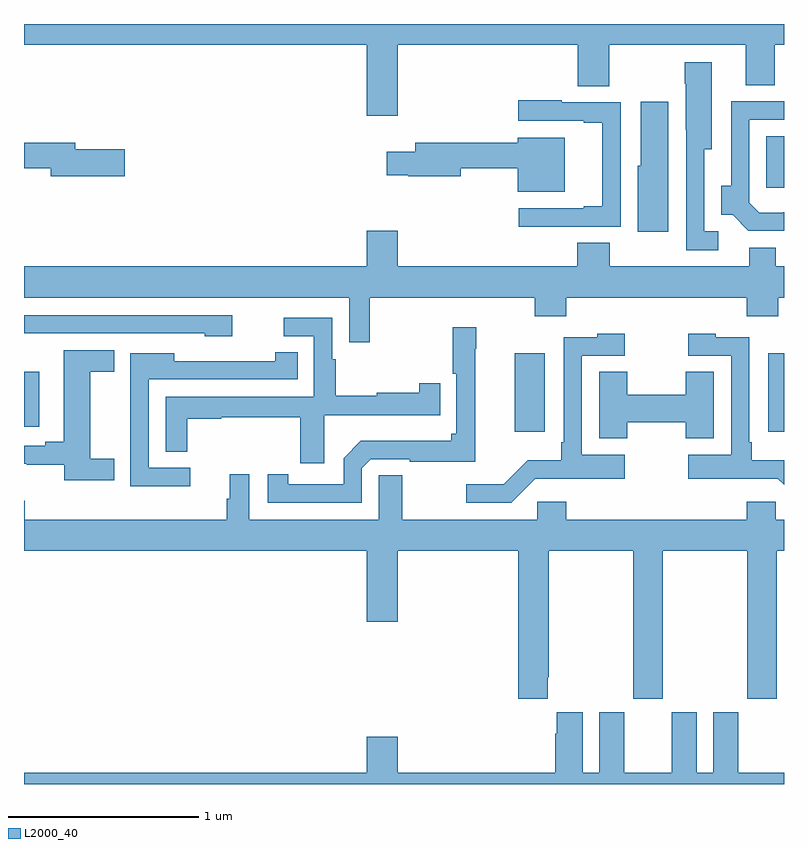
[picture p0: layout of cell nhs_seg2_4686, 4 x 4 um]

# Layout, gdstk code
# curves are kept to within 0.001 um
import gdstk
lib = gdstk.Library(unit=1e-6, precision=1e-09)
def R(c, l, rs):  # rectangles x0, y0, x1, y1
    for r in rs: c.add(gdstk.rectangle(r[:2], r[2:], *l))
def P(c, l, *ps):  # polygons
    for p in ps: c.add(gdstk.Polygon(p, *l))
L2000_40 = (2000, 40)

nhs_seg2_4686 = lib.new_cell('nhs_seg2_4686')
R(nhs_seg2_4686, L2000_40, [(369.584,589.653,369.742,590.068), (370.916,589.653,371,590.068), (367,589.68,367.08,589.971), (370.907,590.937,371,591.208)])
P(nhs_seg2_4686, L2000_40, [(368.968,591.692),(369.914,591.692),(369.914,591.472),(370.08,591.472),(370.08,591.692),(370.799,591.692),(370.799,591.478),(370.952,591.478),(370.952,591.692),(371,591.692),(371,591.8),(367,591.8),(367,591.692),(368.804,591.692),(368.804,591.318),(368.968,591.318)],
  [(370.654,590.709),(370.581,590.709),(370.581,591.14),(370.621,591.14),(370.621,591.598),(370.477,591.598),(370.477,591.485),(370.484,591.485),(370.484,591.244),(370.485,591.244),(370.485,590.609),(370.654,590.609)],
  [(369.827,590.733),(370.14,590.733),(370.14,591.387),(369.83,591.387),(369.83,591.4),(369.6,591.4),(369.6,591.291),(369.947,591.291),(369.947,591.279),(370.043,591.279),(370.043,590.842),(369.947,590.842),(369.947,590.829),(369.603,590.829),(369.603,590.732),(369.827,590.732)],
  [(371,590.808),(370.871,590.807),(370.818,590.859),(370.818,591.297),(371,591.297),(371,591.393),(370.722,591.393),(370.722,590.948),(370.67,590.948),(370.67,590.795),(370.729,590.795),(370.812,590.712),(371,590.712)],
  [(370.39,591.391),(370.247,591.391),(370.247,591.054),(370.229,591.054),(370.229,590.706),(370.39,590.706)],
  [(369.847,591.202),(369.599,591.202),(369.599,591.176),(369.059,591.176),(369.059,591.127),(368.91,591.127),(368.91,591.005),(369.022,591.005),(369.022,590.998),(369.298,590.998),(369.298,591.04),(369.599,591.04),(369.599,590.918),(369.847,590.918)],
  [(367.531,591.14),(367.27,591.14),(367.27,591.176),(367,591.176),(367,591.04),(367.142,591.04),(367.142,590.998),(367.531,590.998)],
  [(368.821,590.36),(369.689,590.36),(369.689,590.261),(369.854,590.261),(369.854,590.36),(370.805,590.36),(370.805,590.261),(370.97,590.261),(370.97,590.36),(371,590.36),(371,590.524),(370.957,590.524),(370.957,590.623),(370.817,590.623),(370.817,590.524),(370.083,590.524),(370.083,590.648),(369.911,590.648),(369.911,590.524),(368.968,590.524),(368.968,590.713),(368.804,590.713),(368.804,590.524),(367,590.524),(367,590.36),(368.712,590.36),(368.712,590.124),(368.821,590.124)],
  [(368.095,590.268),(367,590.268),(367,590.172),(367.95,590.172),(367.95,590.156),(368.095,590.156)],
  [(368.581,589.742),(369.191,589.742),(369.191,589.909),(369.08,589.909),(369.08,589.859),(368.856,589.859),(368.856,589.844),(368.642,589.844),(368.642,590.036),(368.622,590.036),(368.622,590.253),(368.367,590.253),(368.367,590.157),(368.526,590.157),(368.526,589.839),(367.746,589.839),(367.746,589.549),(367.858,589.549),(367.858,589.723),(368.039,589.723),(368.039,589.731),(368.453,589.731),(368.453,589.488),(368.581,589.488)],
  [(368.778,589.461),(368.826,589.509),(369.029,589.509),(369.029,589.497),(369.374,589.497),(369.374,590.09),(369.38,590.09),(369.38,590.203),(369.256,590.203),(369.256,589.958),(369.276,589.958),(369.276,589.644),(369.248,589.644),(369.248,589.606),(368.773,589.606),(368.682,589.515),(368.682,589.377),(368.392,589.377),(368.392,589.429),(368.283,589.429),(368.283,589.281),(368.778,589.281)],
  [(371,589.504),(370.831,589.504),(370.831,589.6),(370.818,589.6),(370.818,590.151),(370.641,590.151),(370.641,590.17),(370.497,590.17),(370.497,590.055),(370.722,590.055),(370.722,589.534),(370.497,589.534),(370.497,589.406),(370.967,589.407),(371,589.374)],
  [(369.691,589.407),(370.162,589.406),(370.162,589.534),(369.936,589.534),(369.936,590.055),(370.162,590.055),(370.162,590.17),(370.017,590.17),(370.017,590.151),(369.84,590.151),(369.84,589.6),(369.828,589.6),(369.828,589.504),(369.65,589.504),(369.524,589.378),(369.327,589.378),(369.327,589.281),(369.565,589.281)],
  [(367.475,589.511),(367.348,589.511),(367.348,589.969),(367.475,589.969),(367.475,590.083),(367.208,590.083),(367.208,589.601),(367.112,589.601),(367.112,589.581),(367,589.581),(367,589.485),(367.014,589.485),(367.014,589.48),(367.211,589.48),(367.211,589.4),(367.475,589.4)],
  [(367.876,589.464),(367.656,589.464),(367.656,589.929),(368.441,589.929),(368.441,590.072),(368.323,590.072),(368.323,590.026),(367.792,590.026),(367.792,590.068),(367.56,590.068),(367.56,589.832),(367.559,589.832),(367.559,589.597),(367.56,589.597),(367.56,589.367),(367.876,589.367)],
  [(370.176,589.703),(370.483,589.703),(370.483,589.619),(370.63,589.619),(370.63,589.97),(370.483,589.97),(370.483,589.85),(370.176,589.85),(370.176,589.97),(370.028,589.97),(370.028,589.619),(370.176,589.619)],
  [(369.757,588.361),(369.762,588.361),(369.762,589.028),(370.207,589.028),(370.207,588.249),(370.362,588.249),(370.362,589.028),(370.807,589.028),(370.807,588.249),(370.962,588.249),(370.962,589.028),(371,589.028),(371,589.192),(370.956,589.192),(370.956,589.285),(370.805,589.285),(370.805,589.192),(369.854,589.192),(369.854,589.285),(369.702,589.285),(369.702,589.192),(368.991,589.192),(368.991,589.424),(368.868,589.424),(368.868,589.192),(368.185,589.192),(368.185,589.429),(368.084,589.429),(368.084,589.302),(368.067,589.302),(368.067,589.192),(367.004,589.192),(367.004,589.29),(367,589.29),(367,589.028),(368.804,589.028),(368.804,588.654),(368.968,588.654),(368.968,589.028),(369.602,589.028),(369.602,588.249),(369.757,588.249)],
  [(371,587.86),(370.759,587.86),(370.759,588.178),(370.628,588.178),(370.628,587.86),(370.54,587.86),(370.54,588.178),(370.409,588.178),(370.409,587.86),(370.159,587.86),(370.159,588.178),(370.028,588.178),(370.028,587.86),(369.94,587.86),(369.94,588.178),(369.803,588.178),(369.803,588.065),(369.797,588.065),(369.797,587.86),(368.968,587.86),(368.968,588.049),(368.804,588.049),(368.804,587.86),(367,587.86),(367,587.8),(371,587.8)])

lib.write_gds('nhs_seg2_4686.gds')
